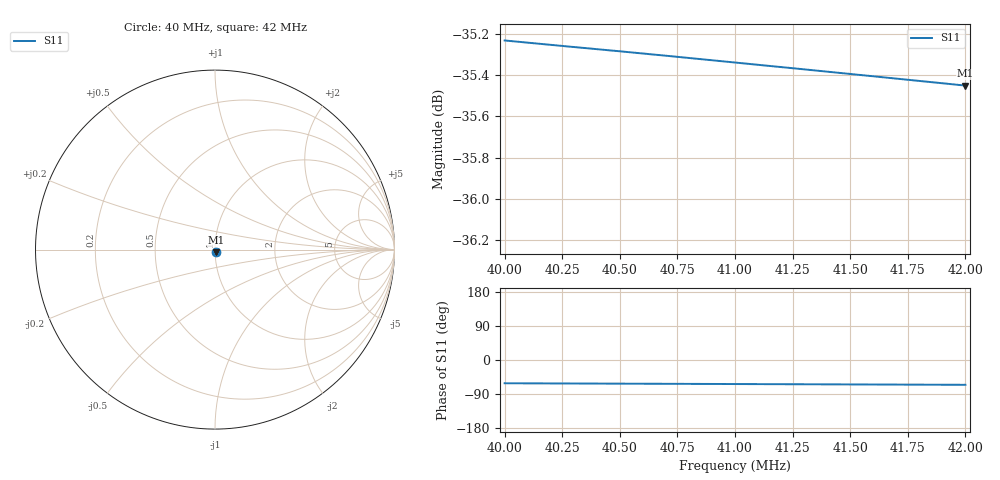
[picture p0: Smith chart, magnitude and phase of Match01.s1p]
# Hz S RI R 50
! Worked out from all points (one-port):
!   9 points, 40 MHz to 42 MHz, reference 50 ohm
!   lowest |S11| = -35.4 dB at 42 MHz (marker M1), VSWR 1.03, Z = 50.7 - j1.56 ohm
!   |S11| at or under -10 dB: start of sweep to end of sweep
4e7  0.00829 -0.0152
4.025e7  0.00813 -0.0152
4.05e7  0.00797 -0.0153
4.075e7  0.00781 -0.0153
4.1e7  0.00765 -0.0153
4.125e7  0.00749 -0.0153
4.15e7  0.00733 -0.0153
4.175e7  0.00717 -0.0153
4.2e7  0.00701 -0.0154
